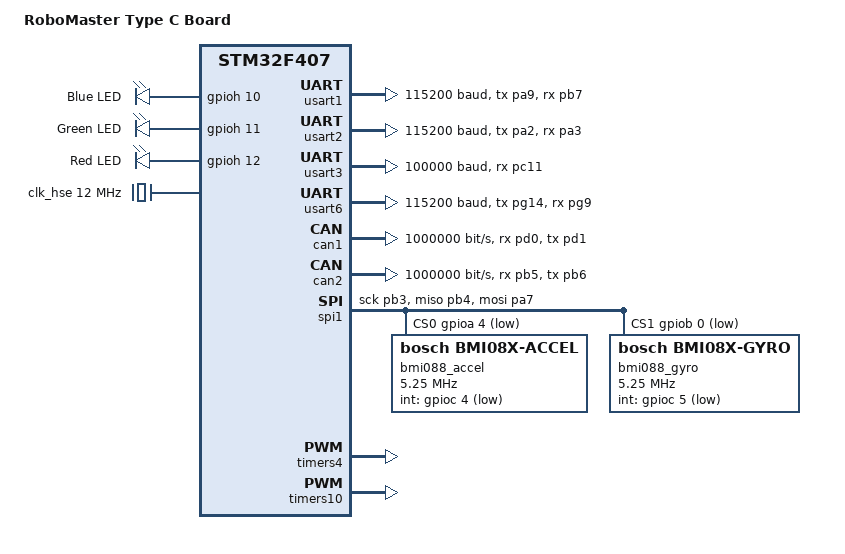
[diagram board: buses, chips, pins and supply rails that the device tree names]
/*
 * SPDX-License-Identifier: Apache-2.0
 *
 * Unit5 串口调试 DTS — USART6 @ 115200 (USB-TTL CH340 直连 PG14/PG9)
 * 注意: 板子丝印 UART1 (3-pin) 实际对应 STM32 USART6
 */

/dts-v1/;

#include <st/f4/stm32f407Xg.dtsi>
#include <st/f4/stm32f407i(e-g)hx-pinctrl.dtsi>
#include <zephyr/dt-bindings/dma/stm32_dma.h>
#include <zephyr/dt-bindings/gpio/gpio.h>

/ {
	model = "RoboMaster Type C Board";
	compatible = "dji,robomaster-c", "st,stm32f407";

	chosen {
		zephyr,console = &usart6;
		zephyr,shell-uart = &usart6;
		zephyr,sram = &sram0;
		zephyr,flash = &flash0;
		zephyr,dtcm = &ccm0;
		zephyr,canbus = &can1;
	};

	aliases {
		led0 = &blue_led;
		led1 = &green_led;
		led2 = &red_led;
		watchdog0 = &iwdg;
	};

	leds {
		compatible = "gpio-leds";

		blue_led: led_0 {
			gpios = <&gpioh 10 GPIO_ACTIVE_HIGH>;
			label = "Blue LED";
		};

		green_led: led_1 {
			gpios = <&gpioh 11 GPIO_ACTIVE_HIGH>;
			label = "Green LED";
		};

		red_led: led_2 {
			gpios = <&gpioh 12 GPIO_ACTIVE_HIGH>;
			label = "Red LED";
		};
	};
};

&clk_hse {
	clock-frequency = <DT_FREQ_M(12)>;
	status = "okay";
};

&pll {
	div-m = <6>;
	mul-n = <168>;
	div-p = <2>;
	div-q = <7>;
	clocks = <&clk_hse>;
	status = "okay";
};

&rcc {
	clocks = <&pll>;
	clock-frequency = <DT_FREQ_M(168)>;
	ahb-prescaler = <1>;
	apb1-prescaler = <4>;
	apb2-prescaler = <2>;
};

&usart1 {
	pinctrl-0 = <&usart1_tx_pa9 &usart1_rx_pb7>;
	pinctrl-names = "default";
	current-speed = <115200>;
	status = "okay";
};

&usart2 {
	pinctrl-0 = <&usart2_tx_pa2 &usart2_rx_pa3>;
	pinctrl-names = "default";
	current-speed = <115200>;
	status = "okay";
};

&usart3 {
	pinctrl-0 = <&usart3_rx_pc11>;
	pinctrl-names = "default";
	current-speed = <100000>;
	dmas = <&dma1 3 4 STM32_DMA_PERIPH_TX STM32_DMA_FIFO_FULL>,
	       <&dma1 1 4 (STM32_DMA_PERIPH_RX | STM32_DMA_MODE_CYCLIC) STM32_DMA_FIFO_FULL>;
	dma-names = "tx", "rx";
	status = "okay";
};

&dma1 {
	status = "okay";
};

&usart6 {
	pinctrl-0 = <&usart6_tx_pg14 &usart6_rx_pg9>;
	pinctrl-names = "default";
	current-speed = <115200>;
	status = "okay";
};

&can1 {
	pinctrl-0 = <&can1_rx_pd0 &can1_tx_pd1>;
	pinctrl-names = "default";
	bitrate = <1000000>;
	status = "okay";
};

&can2 {
	pinctrl-0 = <&can2_rx_pb5 &can2_tx_pb6>;
	pinctrl-names = "default";
	bitrate = <1000000>;
	status = "okay";
};

&flash0 {
	partitions {
		compatible = "fixed-partitions";
		#address-cells = <1>;
		#size-cells = <1>;

		code_partition: partition@0 {
			label = "image-0";
			reg = <0x00000000 0x000c0000>;
		};

		storage_partition: partition@c0000 {
			label = "storage";
			reg = <0x000c0000 0x00040000>;
		};
	};
};

&spi1 {
	pinctrl-0 = <&spi1_sck_pb3 &spi1_miso_pb4 &spi1_mosi_pa7>;
	pinctrl-names = "default";
	cs-gpios = <&gpioa 4 GPIO_ACTIVE_LOW>,
		   <&gpiob 0 GPIO_ACTIVE_LOW>;
	status = "okay";

	bmi088_accel: bmi088-accel@0 {
		compatible = "bosch,bmi08x-accel";
		reg = <0>;
		spi-max-frequency = <5250000>;
		spi-cpol;
		spi-cpha;
		int-gpios = <&gpioc 4 GPIO_ACTIVE_LOW>;
		int1-map-io = <0x01>;
		int1-conf-io = <0x08>;
		int2-map-io = <0x01>;
		int2-conf-io = <0x08>;
		accel-hz = "800";
		accel-fs = <3>;
	};

	bmi088_gyro: bmi088-gyro@1 {
		compatible = "bosch,bmi08x-gyro";
		reg = <1>;
		spi-max-frequency = <5250000>;
		spi-cpol;
		spi-cpha;
		int-gpios = <&gpioc 5 GPIO_ACTIVE_LOW>;
		int3-4-map-io = <0x01>;
		int3-4-conf-io = <0x00>;
		gyro-hz = "1000_116";
		gyro-fs = <2000>;
	};
};

&timers4 {
	status = "okay";

	buzzer_pwm: pwm {
		pinctrl-0 = <&tim4_ch3_pd14>;
		pinctrl-names = "default";
		status = "okay";
	};
};

&timers10 {
	status = "okay";

	imu_heater_pwm: pwm {
		pinctrl-0 = <&tim10_ch1_pf6>;
		pinctrl-names = "default";
		status = "okay";
	};
};
